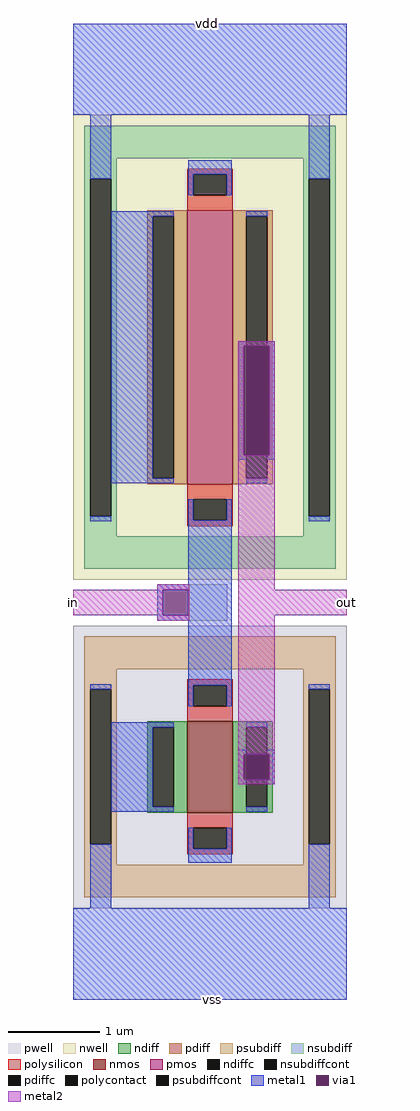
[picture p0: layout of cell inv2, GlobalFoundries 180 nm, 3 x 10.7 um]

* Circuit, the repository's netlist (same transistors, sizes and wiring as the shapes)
* NGSPICE file created from inv2.ext - technology: gf180mcuD

.subckt pfet_03v3_LJVJK4 w_n300_n510# a_n138_n300# a_n50_n392# a_50_n300#
X0 a_50_n300# a_n50_n392# a_n138_n300# w_n300_n510# pfet_03v3 ad=1.32p pd=6.88u as=1.32p ps=6.88u w=3u l=0.5u
.ends

.subckt nfet_03v3_EKBWUP a_n138_n100# a_n50_n192# a_50_n100# a_n276_n286#
X0 a_50_n100# a_n50_n192# a_n138_n100# a_n276_n286# nfet_03v3 ad=0.44p pd=2.88u as=0.44p ps=2.88u w=1u l=0.5u
.ends

.subckt inv2 in vdd out vss
XM1 vdd vdd in out pfet_03v3_LJVJK4
XM2 vss in out vss nfet_03v3_EKBWUP
.ends

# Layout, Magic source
magic
tech gf180mcuD
magscale 1 10
<< nwell >>
rect 1250 -450 1850 570
<< pwell >>
rect 1502 -539 1588 -459
rect 1250 -1170 1850 -550
<< nmos >>
rect 1500 -960 1600 -760
<< pmos >>
rect 1500 -240 1600 360
<< ndiff >>
rect 1412 -773 1500 -760
rect 1412 -947 1425 -773
rect 1471 -947 1500 -773
rect 1412 -960 1500 -947
rect 1600 -773 1688 -760
rect 1600 -947 1629 -773
rect 1675 -947 1688 -773
rect 1600 -960 1688 -947
<< pdiff >>
rect 1412 347 1500 360
rect 1412 -227 1425 347
rect 1471 -227 1500 347
rect 1412 -240 1500 -227
rect 1600 347 1688 360
rect 1600 -227 1629 347
rect 1675 -227 1688 347
rect 1600 -240 1688 -227
<< ndiffc >>
rect 1425 -947 1471 -773
rect 1629 -947 1675 -773
<< pdiffc >>
rect 1425 -227 1471 347
rect 1629 -227 1675 347
<< psubdiff >>
rect 1274 -646 1826 -574
rect 1274 -690 1346 -646
rect 1274 -1030 1287 -690
rect 1333 -1030 1346 -690
rect 1754 -690 1826 -646
rect 1274 -1074 1346 -1030
rect 1754 -1030 1767 -690
rect 1813 -1030 1826 -690
rect 1754 -1074 1826 -1030
rect 1274 -1146 1826 -1074
<< nsubdiff >>
rect 1274 474 1826 546
rect 1274 430 1346 474
rect 1274 -310 1287 430
rect 1333 -310 1346 430
rect 1754 430 1826 474
rect 1274 -354 1346 -310
rect 1754 -310 1767 430
rect 1813 -310 1826 430
rect 1754 -354 1826 -310
rect 1274 -426 1826 -354
<< psubdiffcont >>
rect 1287 -1030 1333 -690
rect 1767 -1030 1813 -690
<< nsubdiffcont >>
rect 1287 -310 1333 430
rect 1767 -310 1813 430
<< polysilicon >>
rect 1500 439 1600 452
rect 1500 393 1513 439
rect 1587 393 1600 439
rect 1500 360 1600 393
rect 1500 -273 1600 -240
rect 1500 -319 1513 -273
rect 1587 -319 1600 -273
rect 1500 -332 1600 -319
rect 1500 -681 1600 -668
rect 1500 -727 1513 -681
rect 1587 -727 1600 -681
rect 1500 -760 1600 -727
rect 1500 -993 1600 -960
rect 1500 -1039 1513 -993
rect 1587 -1039 1600 -993
rect 1500 -1052 1600 -1039
<< polycontact >>
rect 1513 393 1587 439
rect 1513 -319 1587 -273
rect 1513 -727 1587 -681
rect 1513 -1039 1587 -993
<< metal1 >>
rect 1250 570 1850 770
rect 1287 430 1333 570
rect 1502 439 1598 470
rect 1502 393 1513 439
rect 1587 393 1598 439
rect 1767 430 1813 570
rect 1333 347 1471 358
rect 1333 -227 1425 347
rect 1629 347 1675 358
rect 1612 63 1629 73
rect 1675 63 1692 73
rect 1612 -177 1624 63
rect 1680 -177 1692 63
rect 1612 -187 1629 -177
rect 1333 -238 1471 -227
rect 1675 -187 1692 -177
rect 1629 -238 1675 -227
rect 1287 -321 1333 -310
rect 1502 -319 1513 -273
rect 1587 -319 1598 -273
rect 1502 -460 1598 -319
rect 1767 -321 1813 -310
rect 1434 -472 1598 -460
rect 1434 -528 1446 -472
rect 1502 -528 1598 -472
rect 1434 -540 1598 -528
rect 1287 -690 1333 -679
rect 1502 -681 1598 -540
rect 1502 -727 1513 -681
rect 1587 -727 1598 -681
rect 1767 -690 1813 -679
rect 1333 -773 1471 -762
rect 1333 -947 1425 -773
rect 1629 -773 1675 -762
rect 1612 -832 1629 -822
rect 1675 -832 1692 -822
rect 1612 -888 1624 -832
rect 1680 -888 1692 -832
rect 1612 -898 1629 -888
rect 1333 -958 1471 -947
rect 1675 -898 1692 -888
rect 1629 -958 1675 -947
rect 1287 -1170 1333 -1030
rect 1502 -1039 1513 -993
rect 1587 -1039 1598 -993
rect 1502 -1070 1598 -1039
rect 1767 -1170 1813 -1030
rect 1250 -1370 1850 -1170
<< via1 >>
rect 1624 -177 1629 63
rect 1629 -177 1675 63
rect 1675 -177 1680 63
rect 1446 -528 1502 -472
rect 1624 -888 1629 -832
rect 1629 -888 1675 -832
rect 1675 -888 1680 -832
<< metal2 >>
rect 1612 63 1692 73
rect 1612 -177 1624 63
rect 1680 -177 1692 63
rect 1434 -472 1504 -460
rect 1250 -528 1446 -472
rect 1502 -528 1504 -472
rect 1434 -540 1504 -528
rect 1612 -472 1692 -177
rect 1612 -528 1850 -472
rect 1612 -832 1692 -528
rect 1612 -888 1624 -832
rect 1680 -888 1692 -832
rect 1612 -898 1692 -888
<< labels >>
rlabel metal2 1250 -499 1250 -499 7 in
port 0 w
rlabel metal1 1545 770 1545 770 1 vdd
port 1 n
rlabel metal2 1850 -499 1850 -499 3 out
port 2 e
rlabel metal1 1555 -1370 1555 -1370 5 vss
port 3 s
<< end >>
